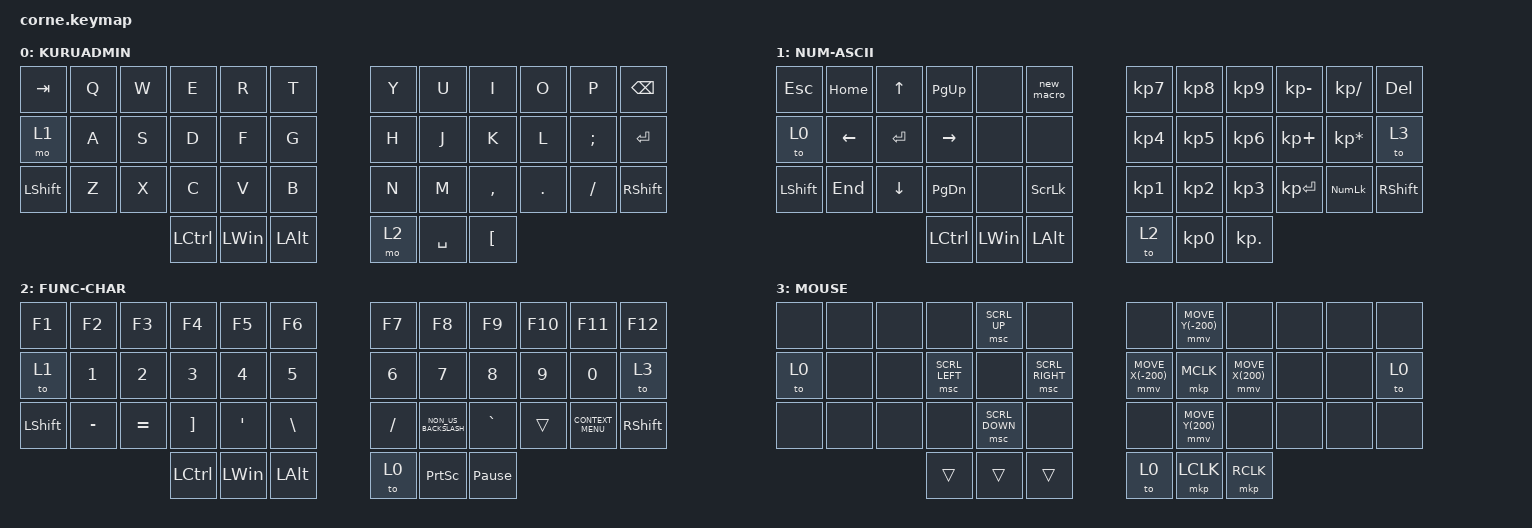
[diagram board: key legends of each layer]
#include <behaviors.dtsi>
#include <dt-bindings/zmk/bt.h>
#include <dt-bindings/zmk/keys.h>
#include <dt-bindings/zmk/outputs.h>
#include <dt-bindings/zmk/pointing.h>
#include <dt-bindings/zmk/rgb.h>

#define ZMK_POINTING_DEFAULT_MOVE_VAL 1500
#define ZMK_POINTING_DEFAULT_SCRL_VAL 20
#define Main    0
#define Num-Ascii  1
#define Func-Char  2
#define Blue-Rgb     3
#define DeleteProfile     4

//numero de leds inferiores

&led_strip { chain-length = <27>; };

// Short versions 

#define RGBON   &rgb_ug RGB_ON
#define RGBOFF  &rgb_ug RGB_OFF
#define RGBTOG  &rgb_ug RGB_TOG
#define RGBHUI  &rgb_ug RGB_HUI
#define RGBHUD  &rgb_ug RGB_HUD
#define RGBSAI  &rgb_ug RGB_SAI
#define RGBSAD  &rgb_ug RGB_SAD
#define RGBBRI  &rgb_ug RGB_BRI
#define RGBBRD  &rgb_ug RGB_BRD
#define RGBEFF  &rgb_ug RGB_EFF

/ {
    behaviors {
        hm: homerow_mods {
            compatible = "zmk,behavior-hold-tap";
            label = "HOMEROW_MODS";
            #binding-cells = <2>;
            tapping-term-ms = <250>;
            quick_tap_ms = <0>;
            flavor = "tap-preferred";
            bindings = <&kp>, <&kp>;
        };
    };

    combos {
        compatible = "zmk,combos";

        BTP1 {
            bindings = <&bt BT_SEL 0>;
            key-positions = <13 1 25>;
        };

        BTP2 {
            bindings = <&bt BT_SEL 1>;
            key-positions = <14 2 26>;
        };

        BTP3 {
            bindings = <&bt BT_SEL 2>;
            key-positions = <15 3 27>;
        };

        BTP4 {
            bindings = <&bt BT_SEL 3>;
            key-positions = <16 4 28>;
        };

        BTP5 {
            bindings = <&bt BT_SEL 4>;
            key-positions = <17 29 5>;
        };

        TGUSB {
            bindings = <&out OUT_TOG>;
            key-positions = <30 18 6>;
        };

        Play-Pause {
            bindings = <&kp C_PLAY_PAUSE>;
            key-positions = <19 21 20>;
        };

        Next {
            bindings = <&kp C_NEXT>;
            key-positions = <20 21 22>;
        };

        Previous {
            bindings = <&kp C_PREV>;
            key-positions = <18 19 20>;
        };

        Mute {
            bindings = <&kp C_MUTE>;
            key-positions = <8 9 7>;
        };

        Vol_Up {
            bindings = <&kp C_VOL_UP>;
            key-positions = <10 9 8>;
        };

        Vol_Down {
            bindings = <&kp C_VOL_DN>;
            key-positions = <6 7 8>;
        };

        Bri_Inc {
            bindings = <&rgb_ug RGB_BRI>;
            key-positions = <2 3 4>;
        };

        Bri_Dec {
            bindings = <&rgb_ug RGB_BRD>;
            key-positions = <26 27 28>;
        };

        RGB_Chg {
            bindings = <&rgb_ug RGB_EFF>;
            key-positions = <14 15 16>;
        };

        Hue_Inc {
            bindings = <&rgb_ug RGB_HUI>;
            key-positions = <5 4 3>;
        };

        Hue_Dec {
            bindings = <&rgb_ug RGB_HUD>;
            key-positions = <3 1 2>;
        };

        Sat_Inc {
            bindings = <&rgb_ug RGB_SAI>;
            key-positions = <29 28 27>;
        };

        Sat_Dec {
            bindings = <&rgb_ug RGB_SAD>;
            key-positions = <25 26 27>;
        };

        Spd_Inc {
            bindings = <&rgb_ug RGB_SPI>;
            key-positions = <17 16 15>;
        };

        Spd_Dec {
            bindings = <&rgb_ug RGB_SPD>;
            key-positions = <13 14 15>;
        };

        BT_Clear {
            bindings = <&bt BT_CLR>;
            key-positions = <22 10 34>;
        };

        Rewind {
            bindings = <&kp C_RW>;
            key-positions = <30 31 32>;
        };

        Forward {
            bindings = <&kp C_FF>;
            key-positions = <34 33 32>;
        };

        Mic {
            bindings = <&kp C_STOP>;
            key-positions = <31 32 33>;
        };
    };

    macros {
        new_macro: new_macro {
            compatible = "zmk,behavior-macro";
            #binding-cells = <0>;
            bindings = <&kp LG(L)>;
            label = "NEW_MACRO";
        };
    };

    keymap {
        compatible = "zmk,keymap";

        Main {
            // -----------------------------------------------------------------------------------------
            // | ESCAPE |  Q  |  W  |  E  |  R  |  T   |          |  Y    |  U   |  I   |  O  |  P  |BKSP |
            // | TAB    |  A  |  S  |  D  |  F  |  G   |          |  H    |  J   |  K   |  L  |  ;  | ENT |
            // | LSHFT  |  Z  |  X  |  C  |  V  |  B   |          |  N    |  M   |  ,   |  .  |  /  |RSHFT|
            //                      | CTL | SPC | mo 1 |          | ENTER | SPC  | mo 3 |

            bindings = <
&kp TAB    &kp Q  &kp W  &kp E             &kp R         &kp T           &kp Y  &kp U      &kp I             &kp O    &kp P     &kp BACKSPACE
&mo 1      &kp A  &kp S  &kp D             &kp F         &kp G           &kp H  &kp J      &kp K             &kp L    &kp SEMI  &kp ENTER
&kp LSHFT  &kp Z  &kp X  &kp C             &kp V         &kp B           &kp N  &kp M      &kp COMMA         &kp DOT  &kp FSLH  &kp RIGHT_SHIFT
                         &kp LEFT_CONTROL  &kp LEFT_WIN  &kp LEFT_ALT    &mo 2  &kp SPACE  &kp LEFT_BRACKET
            >;

            label = "KURUADMIN";
        };

        Number {
            // -----------------------------------------------------------------------------------------
            // | mo 2 | HOME | UP   | PAGE_UP   | VOLUME_UP     | NEXT|          | N7  | N8  | N9  |  -  |  /  |DELETE   |
            // | mo 3 | LEFT | DOWN | RIGHT     | MUTE          | PLAY|          | N4  | N5  | N6  |  +  |  *  | ENT     |
            // |LSHFT | END  | END  | PAGE_DOWN | VOLUME_DOWN   | PREV|          | N1  | N2  | N3  | INT | NLK |RSHFT    |
            //                      | ALT       | WIN           |     |          | ENT | N0  | .   |

            bindings = <
&kp ESCAPE      &kp HOME        &kp UP_ARROW    &kp PAGE_UP      &none         &new_macro        &kp KP_NUMBER_7  &kp KP_NUMBER_8  &kp KP_NUMBER_9  &kp KP_SUBTRACT  &kp KP_DIVIDE    &kp DELETE
&to 0           &kp LEFT_ARROW  &kp ENTER       &kp RIGHT_ARROW  &none         &none             &kp KP_NUMBER_4  &kp KP_NUMBER_5  &kp KP_NUMBER_6  &kp KP_PLUS      &kp KP_MULTIPLY  &to 3
&kp LEFT_SHIFT  &kp END         &kp DOWN_ARROW  &kp PG_DN        &none         &kp SCROLLLOCK    &kp KP_NUMBER_1  &kp KP_NUMBER_2  &kp KP_NUMBER_3  &kp KP_ENTER     &kp KP_NUMLOCK   &kp RIGHT_SHIFT
                                                &kp LCTRL        &kp LEFT_WIN  &kp LEFT_ALT      &to 2            &kp KP_NUMBER_0  &kp KP_DOT
            >;

            label = "NUM-ASCII";
        };

        Fun {
            // -----------------------------------------------------------------------------------------
            // | F1  | F2  | F3  | F4  | F5  | F6   |          | F7   | F8  | F9  | F10 | F11 | F12 |
            // |     |  1  |  2  |  3  |  4  |  5   |          |  6   |  7  |  8  |  9  |  0  | ENT |
            // |reset|  |  |  '  |  ¿  |  +  |  {   |          |  }   |PLAY |NEXT |VOLUP|VOLDN|reset|
            //                   | CTL | WIN | boot |          | boot |PRSC |PAUSE|

            bindings = <
&kp F1          &kp F2        &kp F3        &kp F4             &kp F5          &kp F6           &kp F7        &kp F8                &kp F9           &kp F10       &kp F11             &kp F12
&to 1           &kp NUMBER_1  &kp NUMBER_2  &kp NUMBER_3       &kp NUMBER_4    &kp NUMBER_5     &kp NUMBER_6  &kp NUMBER_7          &kp NUMBER_8     &kp NUMBER_9  &kp NUMBER_0        &to 3
&kp LEFT_SHIFT  &kp MINUS     &kp EQUAL     &kp RIGHT_BRACKET  &kp APOSTROPHE  &kp BACKSLASH    &kp SLASH     &kp NON_US_BACKSLASH  &kp GRAVE        &trans        &kp K_CONTEXT_MENU  &kp RIGHT_SHIFT
                                            &kp LEFT_CONTROL   &kp LEFT_WIN    &kp LEFT_ALT     &to 0         &kp PRINTSCREEN       &kp PAUSE_BREAK
            >;

            label = "FUNC-CHAR";
        };

        MOUSE {
            // -----------------------------------------------------------------------------------------
            // | BT NXT | BT0       | BT1       | BT2      | BT3  | BT4  |          |     |     |     |     |     |     |
            // |        |           |  RGB_BRI  | RGB_HUI  |      |      |          |     |     |     |     |     |     |
            // | reset  |  RGB_EFF  |  RGB_BRD  | RGB_HUD  |      |      |          |     |     |     |     |     |reset|
            //                                  | CTL      | WIN  |      |          |     |     |     |

            bindings = <
&none  &none  &none  &none           &msc SCRL_UP    &none              &none              &mmv MOVE_Y(-200)  &none             &none  &none  &none
&to 0  &none  &none  &msc SCRL_LEFT  &none           &msc SCRL_RIGHT    &mmv MOVE_X(-200)  &mkp MCLK          &mmv MOVE_X(200)  &none  &none  &to 0
&none  &none  &none  &none           &msc SCRL_DOWN  &none              &none              &mmv MOVE_Y(200)   &none             &none  &none  &none
                     &trans          &trans          &trans             &to 0              &mkp LCLK          &mkp RCLK
            >;

            label = "MOUSE";
        };
    };
};
